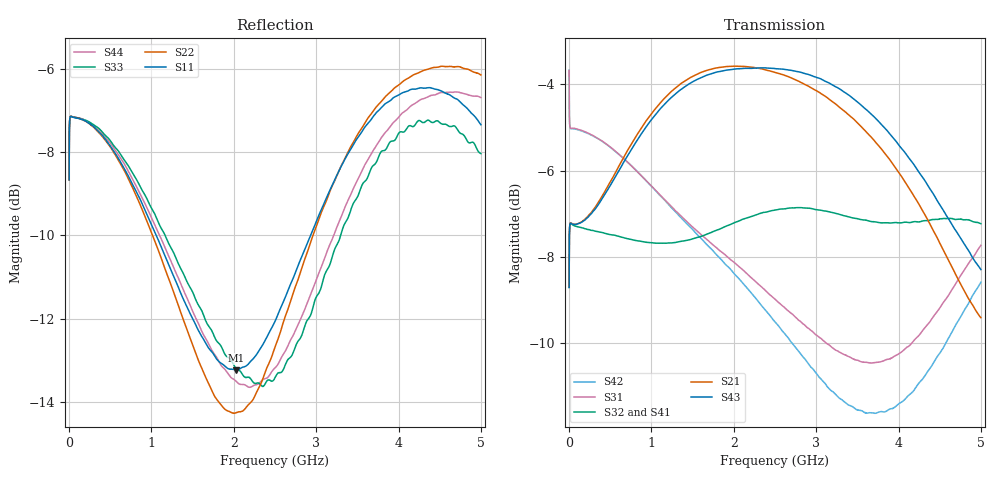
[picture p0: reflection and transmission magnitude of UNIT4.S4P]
!MINI CIRCUITS LABORATORY
!MODEL:TC1-1-13M+
!RUN/LOT/DATE CODE:MX88570
!FIXTURE USED:90-2-20-199,S/N66156
!CONNECTION:PORT1-PIN6,PORT2-PIN4,PORT3-PIN1,PORT4-PIN3; PIN 2,5-GRND
!Date: Fri Dec 14 12:31:12 2007
!Data & Calibration Information:
!Freq	S11:SOLT4(ON)	S12:SOLT4(ON)	S13:SOLT4(ON)	S14:SOLT4(ON)
!	S21:SOLT4(ON)	S22:SOLT4(ON)	S23:SOLT4(ON)	S24:SOLT4(ON)
!	S31:SOLT4(ON)	S32:SOLT4(ON)	S33:SOLT4(ON)	S34:SOLT4(ON)
!	S41:SOLT4(ON)	S42:SOLT4(ON)	S43:SOLT4(ON)	S44:SOLT4(ON)
# Hz S dB R 50
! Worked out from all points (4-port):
!   1601 points, 1 MHz to 5 GHz, reference 50 ohm
!   strongest paths, dB at 1 MHz, 1.251 GHz, 2.501 GHz, 3.75 GHz, 5 GHz:
!     S43: -8.7, -4.3, -3.6, -4.8, -8.3
!     S21: -8.7, -4.1, -3.7, -5.4, -9.4
!     S32: -8.7, -7.7, -6.9, -7.2, -7.2
!     S41: -8.7, -7.7, -7.0, -7.3, -7.2
!     S31: -3.7, -6.8, -9.0, -10.4, -7.7
!     S42: -3.7, -6.9, -9.5, -11.6, -8.6
!   lowest |S11| = -13.2 dB at 2.032 GHz (marker M1), VSWR 1.56, Z = 76.6 - j7.39 ohm
!   |S11| at or under -10 dB: 1.058 GHz to 2.933 GHz (1.874 GHz wide, 93.9 % of centre)
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1000000  -8.66 16.7  -8.72 16.9  -3.66 -9.4  -8.72 -163.3
         -8.70 16.8  -8.66 16.7  -8.72 -163.3  -3.67 -9.4
         -3.67 -9.3  -8.71 -163.2  -8.67 16.8  -8.71 16.8
         -8.71 -163.4  -3.66 -9.4  -8.71 16.8  -8.67 16.6
8.352081e8  -9.02 -24.1  -5.14 7.6  -6.05 -42.1  -7.61 128.4
            -5.14 7.6  -9.14 -27.2  -7.63 127.9  -6.04 -38.8
            -6.04 -42.2  -7.63 127.9  -8.72 -25.5  -5.27 8.0
            -7.61 128.4  -6.04 -38.9  -5.27 7.9  -8.90 -27.4
2.031844e9  -13.23 -12.2  -3.57 -12.8  -8.18 -96.1  -7.24 72.2
            -3.58 -12.8  -14.25 -12.4  -7.19 71.7  -8.44 -89.8
            -8.18 -96.0  -7.19 71.7  -13.19 -22.8  -3.64 -10.2
            -7.24 72.0  -8.45 -89.9  -3.64 -10.2  -13.51 -23.6
2.591107e9  -11.64 10.2  -3.77 -23.0  -9.14 -125.8  -6.99 48.4
            -3.77 -23.0  -12.16 13.9  -6.89 47.9  -9.72 -118.6
            -9.14 -125.8  -6.89 47.8  -13.26 0.9  -3.65 -19.4
            -6.99 48.3  -9.72 -118.8  -3.64 -19.4  -12.88 1.4
3.384698e9  -8.05 22.3  -4.69 -37.2  -10.31 -171.4  -7.16 18.7
            -4.69 -37.3  -8.01 25.1  -7.06 17.7  -11.41 -164.1
            -10.31 -171.3  -7.07 17.7  -9.59 22.0  -4.23 -33.6
            -7.17 18.6  -11.43 -164.2  -4.23 -33.6  -9.17 23.2
4.122051e9  -6.53 14.0  -6.39 -48.5  -10.07 148.8  -7.25 -4.3
            -6.39 -48.6  -6.23 16.8  -7.21 -5.4  -11.21 156.0
            -10.08 148.6  -7.21 -5.4  -7.38 15.4  -5.69 -45.2
            -7.24 -4.3  -11.22 155.9  -5.70 -45.2  -6.95 19.8
5e9  -7.35 -11.8  -9.41 -48.4  -7.73 101.1  -7.19 -36.4
     -9.41 -48.5  -6.15 -8.1  -7.24 -37.8  -8.58 111.3
     -7.74 101.1  -7.23 -37.9  -8.04 -8.3  -8.28 -48.3
     -7.19 -36.6  -8.59 111.2  -8.30 -48.2  -6.70 -1.2
